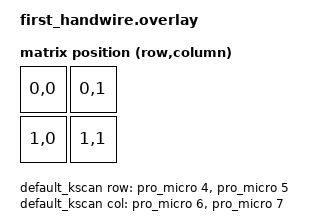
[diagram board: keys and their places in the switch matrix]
#include <dt-bindings/zmk/matrix_transform.h>

/ {
	chosen {
		zmk,kscan = &default_kscan;
		zmk,matrix_transform = &default_transform;
	};

	default_kscan: kscan {
		compatible = "zmk,kscan-gpio-matrix";
		label = "default_kscan";
		diode-direction = "col2row";

		row-gpios =
			<&pro_micro 4 (GPIO_ACTIVE_HIGH | GPIO_PULL_DOWN)>,
			<&pro_micro 5 (GPIO_ACTIVE_HIGH | GPIO_PULL_DOWN)>;

		col-gpios =
			<&pro_micro 6 (GPIO_ACTIVE_HIGH | GPIO_PULL_DOWN)>,
			<&pro_micro 7 (GPIO_ACTIVE_HIGH | GPIO_PULL_DOWN)>;
	};

	default_transform: matrix_transform {
		compatible = "zmk,matrix-transform";
		rows = <2>;
		columns = <2>;

		map = <
			RC(0,0) RC(0,1)
			RC(1,0) RC(1,1)
		>;
	};
};
